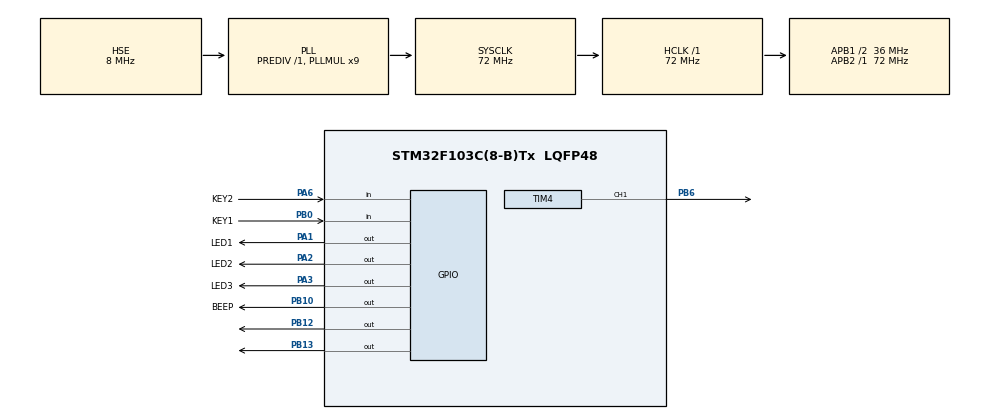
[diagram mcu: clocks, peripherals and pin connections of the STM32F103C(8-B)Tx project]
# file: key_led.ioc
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Mcu.Family=STM32F1
Mcu.Name=STM32F103C(8-B)Tx
Mcu.Package=LQFP48
NVIC.PriorityGroup=NVIC_PRIORITYGROUP_4
PA1.GPIO_Label=LED1
PA1.PinState=GPIO_PIN_SET
PA1.Signal=GPIO_Output
PA13.Signal=SYS_JTMS-SWDIO
PA2.GPIO_Label=LED2
PA2.PinState=GPIO_PIN_SET
PA2.Signal=GPIO_Output
PA3.GPIO_Label=LED3
PA3.PinState=GPIO_PIN_SET
PA3.Signal=GPIO_Output
PA6.GPIO_Label=KEY2
PA6.GPIO_PuPd=GPIO_PULLDOWN
PA6.Signal=GPIO_Input
PB0.GPIO_Label=KEY1
PB0.GPIO_PuPd=GPIO_PULLDOWN
PB0.Signal=GPIO_Input
PB10.GPIO_Label=BEEP
PB10.PinState=GPIO_PIN_SET
PB10.Signal=GPIO_Output
PB12.Signal=GPIO_Output
PB13.Signal=GPIO_Output
PB6.Signal=S_TIM4_CH1
PC14-OSC32_IN.Mode=LSE-External-Oscillator
PC14-OSC32_IN.Signal=RCC_OSC32_IN
PC15-OSC32_OUT.Mode=LSE-External-Oscillator
PC15-OSC32_OUT.Signal=RCC_OSC32_OUT
PD0-OSC_IN.Mode=HSE-External-Oscillator
PD0-OSC_IN.Signal=RCC_OSC_IN
PD1-OSC_OUT.Mode=HSE-External-Oscillator
PD1-OSC_OUT.Signal=RCC_OSC_OUT
ProjectManager.HeapSize=0x200
ProjectManager.StackSize=0x400
ProjectManager.TargetToolchain=MDK-ARM V5.32
RCC.AHBFreq_Value=72000000
RCC.APB1CLKDivider=RCC_HCLK_DIV2
RCC.APB1Freq_Value=36000000
RCC.APB1TimFreq_Value=72000000
RCC.APB2Freq_Value=72000000
RCC.APB2TimFreq_Value=72000000
RCC.HCLKFreq_Value=72000000
RCC.PLLMUL=RCC_PLL_MUL9
RCC.PLLSourceVirtual=RCC_PLLSOURCE_HSE
RCC.SYSCLKFreq_VALUE=72000000
RCC.SYSCLKSource=RCC_SYSCLKSOURCE_PLLCLK
RCC.USBFreq_Value=72000000
SH.S_TIM4_CH1.0=TIM4_CH1,PWM Generation1 CH1
TIM4.Channel-PWM\ Generation1\ CH1=TIM_CHANNEL_1
TIM4.Period=1999
TIM4.Prescaler=719
TIM4.Pulse-PWM\ Generation1\ CH1=150
VP_SYS_VS_ND.Mode=No_Debug
VP_TIM4_VS_ClockSourceINT.Mode=Internal
board=custom

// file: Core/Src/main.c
/* USER CODE BEGIN Header */
/**
  ******************************************************************************
  * @file           : main.c
  * @brief          : Main program body
  ******************************************************************************
  * @attention
  *
  * Copyright (c) 2026 STMicroelectronics.
  * All rights reserved.
  *
  * This software is licensed under terms that can be found in the LICENSE file
  * in the root directory of this software component.
  * If no LICENSE file comes with this software, it is provided AS-IS.
  *
  ******************************************************************************
  */
/* USER CODE END Header */
#include "main.h"

/* USER CODE BEGIN Includes */
#include "oled.h"

/* USER CODE END Includes */

TIM_HandleTypeDef htim4;

void SystemClock_Config(void);
static void MX_GPIO_Init(void);
static void MX_TIM4_Init(void);

/* USER CODE BEGIN 0 */

/* ==========================================================================
 * Bomb UI
 *
 * Everything is drawn into the OLED frame buffer and pushed once per frame,
 * so there is no erase-then-draw flicker. Text is centred by measured width,
 * which is what keeps a long string like "DEFUSED" on one line.
 *
 * Panel is 128 x 64. Content stays inside a 1px border.
 * ======================================================================== */

#define BOMB_SECONDS      10        /* countdown length, real seconds */
#define BOMB_UI_MS        500       /* redraw period while counting down */
#define BOMB_GAP_START    600       /* first beat period, shrinks by 12% per round */

static unsigned char ui_text_w(const char *p, unsigned char size, unsigned char scale)
{
    unsigned int n = 0u;
    unsigned int cw;

    if (p == NULL) {
        return 0u;
    }
    while (p[n] != '\0') {
        n++;
    }
    if (scale == 0u) {
        scale = 1u;
    }
    cw = (unsigned int)(((size == 16u) ? 8u : 6u) * scale);

    n *= cw;
    return (unsigned char)((n > 255u) ? 255u : n);
}

static void ui_center(unsigned char y, const char *p, unsigned char size, unsigned char scale)
{
    unsigned int w = ui_text_w(p, size, scale);
    unsigned char x = (unsigned char)((w < 128u) ? ((128u - w) / 2u) : 0u);

    OLED_ShowStringScale(x, y, p, size, scale);
}

/* Idle screen: title, rule, prompt. No debug text - this is the one people see. */
static void ui_idle(void)
{
    OLED_Clear();
    OLED_Rect(0u, 0u, 127u, 63u, 1u);

    OLED_HLine(0u, 127u, 11u, 1u);
    OLED_FillRect(4u, 4u, 7u, 7u, 1u);
    OLED_ShowString(11u, 2u, "STANDBY", 8u);

    ui_center(20u, "BOMB READY", 16u, 1u);
    OLED_HLine(24u, 103u, 42u, 1u);
    ui_center(48u, "PRESS KEY1", 8u, 1u);

    OLED_Refresh();
}

/* Countdown: two big digits, progress bar, blinking armed lamp. */
static void ui_countdown(unsigned int remain_ms)
{
    unsigned int total = (unsigned int)BOMB_SECONDS * 1000u;
    unsigned int bar;
    unsigned char sec;

    OLED_Clear();
    OLED_Rect(0u, 0u, 127u, 63u, 1u);

    OLED_HLine(0u, 127u, 11u, 1u);
    OLED_ShowString(4u, 2u, "ARMED", 8u);
    if (((remain_ms / 500u) & 1u) == 0u) {
        OLED_FillRect(118u, 4u, 121u, 7u, 1u);
    } else {
        OLED_Rect(118u, 4u, 121u, 7u, 1u);
    }

    /* Always two digits so the number does not shift as it crosses 9. */
    sec = (unsigned char)((remain_ms + 999u) / 1000u);
    OLED_ShowNumScale(48u, 15u, (unsigned long)sec, 2u, 16u, 2u);

    OLED_Rect(8u, 50u, 119u, 58u, 1u);
    bar = (remain_ms * 108u) / total;
    if (bar > 108u) {
        bar = 108u;
    }
    if (bar > 0u) {
        OLED_FillRect(10u, 52u, (unsigned char)(10u + bar - 1u), 56u, 1u);
    }

    OLED_Refresh();
}

/* Success: a face, then the word, well clear of the right edge. */
static void ui_defused(void)
{
    OLED_Clear();
    OLED_Rect(0u, 0u, 127u, 63u, 1u);

    OLED_Circle(64, 14, 9, 1u);
    OLED_FillRect(59u, 9u, 60u, 10u, 1u);
    OLED_FillRect(68u, 9u, 69u, 10u, 1u);
    /* smile: shallow arc, the ends sit one pixel above the middle */
    OLED_HLine(61u, 67u, 19u, 1u);
    OLED_SetPixel(60u, 18u, 1u);
    OLED_SetPixel(68u, 18u, 1u);
    OLED_SetPixel(59u, 17u, 1u);
    OLED_SetPixel(69u, 17u, 1u);

    ui_center(27u, "DEFUSED", 16u, 1u);
    OLED_HLine(32u, 95u, 47u, 1u);
    ui_center(51u, "SAFE", 8u, 1u);

    OLED_Refresh();
}

/* Detonation: whole panel inverts on alternate frames. */
static void ui_boom(unsigned char invert)
{
    OLED_Clear();

    if (invert != 0u) {
        OLED_FillRect(0u, 0u, 127u, 63u, 1u);
        OLED_SetDrawMode(0u);
        OLED_Rect(2u, 2u, 125u, 61u, 1u);
        ui_center(16u, "BOOM", 16u, 2u);
        OLED_SetDrawMode(1u);
    } else {
        OLED_Rect(0u, 0u, 127u, 63u, 1u);
        ui_center(16u, "BOOM", 16u, 2u);
    }

    OLED_Refresh();
}

/* --------------------------------------------------------------------------
 * Defusing is a gamble.
 *
 * The odds get worse the longer you wait, so the interesting decision is not
 * whether to press KEY2 but when. The generator is seeded from the millisecond
 * counter and the SysTick down-counter - both are moving freely by the time a
 * human manages to press a button, so two runs do not repeat.
 * ----------------------------------------------------------------------- */
#define DEFUSE_CHANCE_BASE   80     /* percent, with the full countdown left */
#define DEFUSE_CHANCE_STEP    6     /* lost per second already elapsed */
#define DEFUSE_CHANCE_MIN    20     /* never quite hopeless */

static uint32_t g_rng = 0x9E3779B9u;

static uint32_t rng_next(void)
{
    uint32_t x = g_rng;

    x ^= x << 13;
    x ^= x >> 17;
    x ^= x << 5;

    g_rng = x;
    return x;
}

/* 1 = this attempt succeeds */
static unsigned char rng_roll(unsigned char percent)
{
    g_rng ^= (HAL_GetTick() ^ (uint32_t)SysTick->VAL);
    if (g_rng == 0u) {
        g_rng = 0x9E3779B9u;            /* xorshift must never reach zero */
    }
    return (unsigned char)((rng_next() % 100u) < (uint32_t)percent);
}

static unsigned char defuse_chance(int sec_left)
{
    int c = DEFUSE_CHANCE_BASE - (BOMB_SECONDS - sec_left) * DEFUSE_CHANCE_STEP;

    if (c < DEFUSE_CHANCE_MIN) {
        c = DEFUSE_CHANCE_MIN;
    }
    if (c > 99) {
        c = 99;
    }
    return (unsigned char)c;
}

/* 0 = not pressed, 1 = defused, 2 = the gamble failed */
static unsigned char key2_try(uint32_t el, uint32_t total)
{
    int sec_left;
    unsigned char chance;

    if (HAL_GPIO_ReadPin(KEY2_GPIO_Port, KEY2_Pin) != GPIO_PIN_SET) {
        return 0u;
    }
    if (el >= total) {
        return 0u;                      /* already gone */
    }

    sec_left = (int)((total - el + 999u) / 1000u);
    chance   = defuse_chance(sec_left);

    return (rng_roll(chance) != 0u) ? 1u : 2u;
}

/* Generic two-line message, used for "you cut the wrong wire". */
static void ui_message(const char *big, const char *small)
{
    OLED_Clear();
    OLED_Rect(0u, 0u, 127u, 63u, 1u);

    ui_center(14u, big, 16u, 1u);

    if (small != NULL) {
        OLED_HLine(40u, 87u, 44u, 1u);
        ui_center(50u, small, 8u, 1u);
    }

    OLED_Refresh();
}

/*
 * One full play.
 *
 * The beat is the original one: the horn chirps and the servo takes ten steps,
 * then `gap` shrinks by 12% so both the beeps and the sweep speed up together.
 * Only the *total* length is pinned to a wall clock, so the countdown really
 * ends at ten seconds no matter how long a step or a redraw takes.
 */
static void run_bomb(void)
{
    const uint32_t total_ms = (uint32_t)BOMB_SECONDS * 1000u;
    uint32_t t0, t_ui, el;
    int gap = BOMB_GAP_START;
    int dir = 1;
    int pos = 80;
    uint8_t defused = 0;
    uint8_t failed  = 0;

    ui_countdown((unsigned int)total_ms);   /* first frame: 10 s straight away */

    t0   = HAL_GetTick();
    t_ui = t0;

    for (;;)
    {
        el = HAL_GetTick() - t0;
        if (el >= total_ms) {
            break;                      /* out of time */
        }

        /* 1. chirp + all three LEDs, 50 ms, same as before */
        HAL_GPIO_WritePin(GPIOA, LED1_Pin | LED2_Pin | LED3_Pin, GPIO_PIN_RESET);
        HAL_GPIO_WritePin(GPIOB, BEEP_Pin, GPIO_PIN_RESET);
        HAL_Delay(50);
        HAL_GPIO_WritePin(GPIOA, LED1_Pin | LED2_Pin | LED3_Pin, GPIO_PIN_SET);
        HAL_GPIO_WritePin(GPIOB, BEEP_Pin, GPIO_PIN_SET);

        /* KEY2 may be hit during the chirp - do not miss it */
        {
            unsigned char hit = key2_try(HAL_GetTick() - t0, total_ms);

            if (hit == 1u) { defused = 1; break; }
            if (hit == 2u) { failed  = 1; break; }
        }

        /* 2. ten servo steps - the sweep keeps pace with the beep */
        {
            int step_delay = gap / 10;
            int step;

            if (step_delay < 15) {
                step_delay = 15;        /* give the servo time to move */
            }

            for (step = 0; step < 10; step++)
            {
                pos += dir * 14;
                if (pos > 220) { pos = 220; }
                if (pos < 80)  { pos = 80;  }
                __HAL_TIM_SET_COMPARE(&htim4, TIM_CHANNEL_1, (uint32_t)pos);
                HAL_Delay((uint32_t)step_delay);

                /* refresh from inside the sweep so the beat is not stretched */
                if ((uint32_t)(HAL_GetTick() - t_ui) >= BOMB_UI_MS)
                {
                    uint32_t now = HAL_GetTick();

                    t_ui = now;
                    el   = now - t0;
                    if (el < total_ms) {
                        ui_countdown((unsigned int)(total_ms - el));
                    }
                }

                {
                    unsigned char hit = key2_try(HAL_GetTick() - t0, total_ms);

                    if (hit == 1u) { defused = 1; break; }
                    if (hit == 2u) { failed  = 1; break; }
                }
            }
        }

        if ((defused != 0) || (failed != 0)) {
            break;
        }

        dir = -dir;
        gap = (gap * 88) / 100;         /* the accelerating beat */
    }

    if (defused != 0)
    {
        /* defused: two short beeps */
        ui_defused();
        for (int i = 0; i < 2; i++)
        {
            HAL_GPIO_WritePin(GPIOB, BEEP_Pin, GPIO_PIN_RESET);
            HAL_Delay(80);
            HAL_GPIO_WritePin(GPIOB, BEEP_Pin, GPIO_PIN_SET);
            HAL_Delay(80);
        }
    }
    else
    {
        if (failed != 0)
        {
            /* pressed too late: say so before the bang */
            ui_message("FAILED", "BAD LUCK");
            for (int i = 0; i < 2; i++)
            {
                HAL_GPIO_WritePin(GPIOB, BEEP_Pin, GPIO_PIN_RESET);
                HAL_Delay(120);
                HAL_GPIO_WritePin(GPIOB, BEEP_Pin, GPIO_PIN_SET);
                HAL_Delay(140);
            }
            HAL_Delay(350);
        }

        /* detonation: servo freezes mid-stroke, horn holds 1.5 s, LEDs solid */
        HAL_GPIO_WritePin(GPIOB, BEEP_Pin, GPIO_PIN_RESET);
        HAL_GPIO_WritePin(GPIOA, LED1_Pin | LED2_Pin | LED3_Pin, GPIO_PIN_RESET);

        for (int i = 0; i < 10; i++)
        {
            ui_boom((unsigned char)(i & 1));
            HAL_Delay(130);
        }

        HAL_GPIO_WritePin(GPIOB, BEEP_Pin, GPIO_PIN_SET);
        HAL_GPIO_WritePin(GPIOA, LED1_Pin | LED2_Pin | LED3_Pin, GPIO_PIN_SET);
    }

    HAL_GPIO_WritePin(GPIOA, LED1_Pin | LED2_Pin | LED3_Pin, GPIO_PIN_SET);
    HAL_GPIO_WritePin(GPIOB, BEEP_Pin, GPIO_PIN_SET);

    HAL_Delay(1200);
    ui_idle();
}

/* USER CODE END 0 */

int main(void)
{

  /* MCU Configuration--------------------------------------------------------*/

  /* Reset of all peripherals, Initializes the Flash interface and the Systick. */
  HAL_Init();

  /* Configure the system clock */
  SystemClock_Config();

  /* Initialize all configured peripherals */
  MX_GPIO_Init();
  MX_TIM4_Init();
  /* USER CODE BEGIN 2 */
  /* TIM4 was only configured, never started: without this the CCR writes
     never reach PB6 and the servo stays dead. */
  HAL_TIM_PWM_Start(&htim4, TIM_CHANNEL_1);
  __HAL_TIM_SET_COMPARE(&htim4, TIM_CHANNEL_1, 80u);   /* park at the start angle */

  OLED_Init();
  ui_idle();

  if (OLED_ProbeOK() == 0)
  {
      /* Nothing answered on the bus, so the panel stays dark: blink all three
         LEDs (active low) instead of failing silently. */
      for (int k = 0; k < 6; k++)
      {
          HAL_GPIO_WritePin(GPIOA, LED1_Pin | LED2_Pin | LED3_Pin, GPIO_PIN_RESET);
          HAL_Delay(120);
          HAL_GPIO_WritePin(GPIOA, LED1_Pin | LED2_Pin | LED3_Pin, GPIO_PIN_SET);
          HAL_Delay(120);
      }
  }
  /* USER CODE END 2 */

  /* Infinite loop */
  /* USER CODE BEGIN WHILE */
  while (1)
  {
      if (HAL_GPIO_ReadPin(KEY1_GPIO_Port, KEY1_Pin) == GPIO_PIN_SET)
      {
          HAL_Delay(20);                    /* debounce */
          if (HAL_GPIO_ReadPin(KEY1_GPIO_Port, KEY1_Pin) == GPIO_PIN_SET)
          {
              run_bomb();
          }
      }
      HAL_Delay(10);
  }
  /* USER CODE END 3 */
}

void SystemClock_Config(void)
{
  RCC_OscInitTypeDef RCC_OscInitStruct = {0};
  RCC_ClkInitTypeDef RCC_ClkInitStruct = {0};

  /** Initializes the RCC Oscillators according to the specified parameters
  * in the RCC_OscInitTypeDef structure.
  */
  RCC_OscInitStruct.OscillatorType = RCC_OSCILLATORTYPE_HSE;
  RCC_OscInitStruct.HSEState = RCC_HSE_ON;
  RCC_OscInitStruct.HSEPredivValue = RCC_HSE_PREDIV_DIV1;
  RCC_OscInitStruct.HSIState = RCC_HSI_ON;
  RCC_OscInitStruct.PLL.PLLState = RCC_PLL_ON;
  RCC_OscInitStruct.PLL.PLLSource = RCC_PLLSOURCE_HSE;
  RCC_OscInitStruct.PLL.PLLMUL = RCC_PLL_MUL9;
  if (HAL_RCC_OscConfig(&RCC_OscInitStruct) != HAL_OK)
  {
    Error_Handler();
  }

  /** Initializes the CPU, AHB and APB buses clocks
  */
  RCC_ClkInitStruct.ClockType = RCC_CLOCKTYPE_HCLK|RCC_CLOCKTYPE_SYSCLK
                              |RCC_CLOCKTYPE_PCLK1|RCC_CLOCKTYPE_PCLK2;
  RCC_ClkInitStruct.SYSCLKSource = RCC_SYSCLKSOURCE_PLLCLK;
  RCC_ClkInitStruct.AHBCLKDivider = RCC_SYSCLK_DIV1;
  RCC_ClkInitStruct.APB1CLKDivider = RCC_HCLK_DIV2;
  RCC_ClkInitStruct.APB2CLKDivider = RCC_HCLK_DIV1;

  if (HAL_RCC_ClockConfig(&RCC_ClkInitStruct, FLASH_LATENCY_2) != HAL_OK)
  {
    Error_Handler();
  }
}

static void MX_TIM4_Init(void)
{

  TIM_ClockConfigTypeDef sClockSourceConfig = {0};
  TIM_MasterConfigTypeDef sMasterConfig = {0};
  TIM_OC_InitTypeDef sConfigOC = {0};

  htim4.Instance = TIM4;
  htim4.Init.Prescaler = 719;
  htim4.Init.CounterMode = TIM_COUNTERMODE_UP;
  htim4.Init.Period = 1999;
  htim4.Init.ClockDivision = TIM_CLOCKDIVISION_DIV1;
  htim4.Init.AutoReloadPreload = TIM_AUTORELOAD_PRELOAD_DISABLE;
  if (HAL_TIM_Base_Init(&htim4) != HAL_OK)
  {
    Error_Handler();
  }
  sClockSourceConfig.ClockSource = TIM_CLOCKSOURCE_INTERNAL;
  if (HAL_TIM_ConfigClockSource(&htim4, &sClockSourceConfig) != HAL_OK)
  {
    Error_Handler();
  }
  if (HAL_TIM_PWM_Init(&htim4) != HAL_OK)
  {
    Error_Handler();
  }
  sMasterConfig.MasterOutputTrigger = TIM_TRGO_RESET;
  sMasterConfig.MasterSlaveMode = TIM_MASTERSLAVEMODE_DISABLE;
  if (HAL_TIMEx_MasterConfigSynchronization(&htim4, &sMasterConfig) != HAL_OK)
  {
    Error_Handler();
  }
  sConfigOC.OCMode = TIM_OCMODE_PWM1;
  sConfigOC.Pulse = 150;
  sConfigOC.OCPolarity = TIM_OCPOLARITY_HIGH;
  sConfigOC.OCFastMode = TIM_OCFAST_DISABLE;
  if (HAL_TIM_PWM_ConfigChannel(&htim4, &sConfigOC, TIM_CHANNEL_1) != HAL_OK)
  {
    Error_Handler();
  }
  HAL_TIM_MspPostInit(&htim4);

}

static void MX_GPIO_Init(void)
{
  GPIO_InitTypeDef GPIO_InitStruct = {0};

  /* GPIO Ports Clock Enable */
  __HAL_RCC_GPIOC_CLK_ENABLE();
  __HAL_RCC_GPIOD_CLK_ENABLE();
  __HAL_RCC_GPIOA_CLK_ENABLE();
  __HAL_RCC_GPIOB_CLK_ENABLE();

  /*Configure GPIO pin Output Level */
  HAL_GPIO_WritePin(GPIOA, LED1_Pin|LED2_Pin|LED3_Pin, GPIO_PIN_SET);

  /*Configure GPIO pin Output Level */
  HAL_GPIO_WritePin(BEEP_GPIO_Port, BEEP_Pin, GPIO_PIN_SET);

  /*Configure GPIO pin Output Level */
  HAL_GPIO_WritePin(GPIOB, GPIO_PIN_12|GPIO_PIN_13, GPIO_PIN_RESET);

  /*Configure GPIO pins : LED1_Pin LED2_Pin LED3_Pin */
  GPIO_InitStruct.Pin = LED1_Pin|LED2_Pin|LED3_Pin;
  GPIO_InitStruct.Mode = GPIO_MODE_OUTPUT_PP;
  GPIO_InitStruct.Pull = GPIO_NOPULL;
  GPIO_InitStruct.Speed = GPIO_SPEED_FREQ_LOW;
  HAL_GPIO_Init(GPIOA, &GPIO_InitStruct);

  /*Configure GPIO pin : KEY2_Pin */
  GPIO_InitStruct.Pin = KEY2_Pin;
  GPIO_InitStruct.Mode = GPIO_MODE_INPUT;
  GPIO_InitStruct.Pull = GPIO_PULLDOWN;
  HAL_GPIO_Init(KEY2_GPIO_Port, &GPIO_InitStruct);

  /*Configure GPIO pin : KEY1_Pin */
  GPIO_InitStruct.Pin = KEY1_Pin;
  GPIO_InitStruct.Mode = GPIO_MODE_INPUT;
  GPIO_InitStruct.Pull = GPIO_PULLDOWN;
  HAL_GPIO_Init(KEY1_GPIO_Port, &GPIO_InitStruct);

  /*Configure GPIO pins : BEEP_Pin PB12 PB13 */
  GPIO_InitStruct.Pin = BEEP_Pin|GPIO_PIN_12|GPIO_PIN_13;
  GPIO_InitStruct.Mode = GPIO_MODE_OUTPUT_PP;
  GPIO_InitStruct.Pull = GPIO_NOPULL;
  GPIO_InitStruct.Speed = GPIO_SPEED_FREQ_LOW;
  HAL_GPIO_Init(GPIOB, &GPIO_InitStruct);

}

void Error_Handler(void)
{
  __disable_irq();
  while (1)
  {
  }
}
